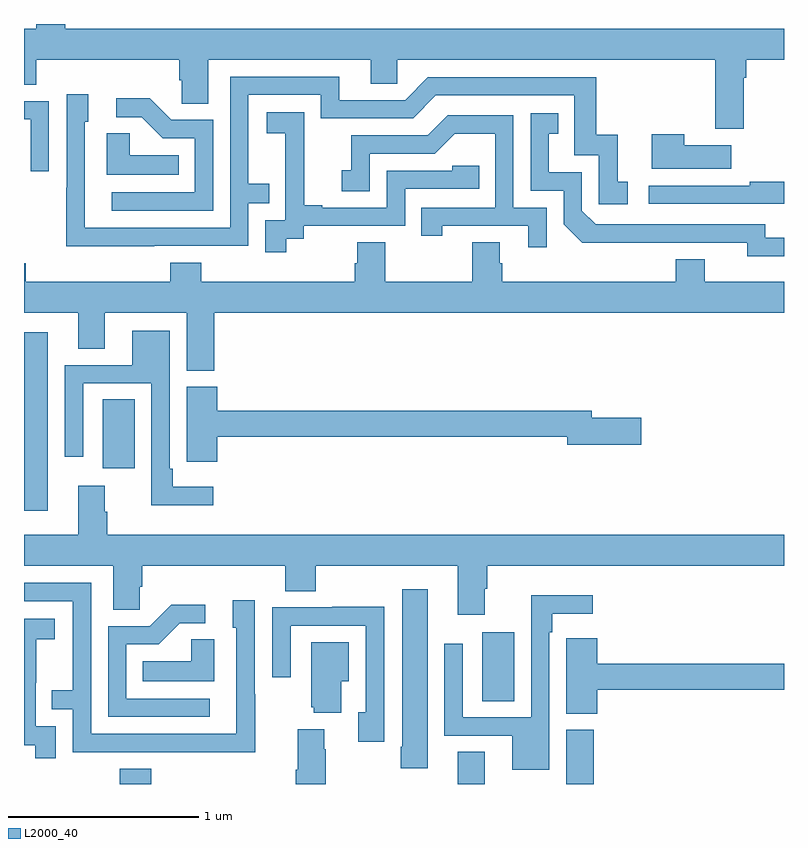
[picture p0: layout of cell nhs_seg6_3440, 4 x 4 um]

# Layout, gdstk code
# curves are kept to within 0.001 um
import gdstk
lib = gdstk.Library(unit=1e-6, precision=1e-09)
def R(c, l, rs):  # rectangles x0, y0, x1, y1
    for r in rs: c.add(gdstk.rectangle(r[:2], r[2:], *l))
def P(c, l, *ps):  # polygons
    for p in ps: c.add(gdstk.Polygon(p, *l))
L2000_40 = (2000, 40)

nhs_seg6_3440 = lib.new_cell('nhs_seg6_3440')
R(nhs_seg6_3440, L2000_40, [(313.505,967.5,313.67,967.579), (315.284,967.5,315.424,967.67), (315.854,967.5,315.998,967.785), (315.413,967.936,315.58,968.299), (313,968.937,313.126,969.877), (313.415,969.162,313.582,969.524)])
P(nhs_seg6_3440, L2000_40, [(316.789,971.216),(316.802,971.216),(316.802,971.312),(317,971.312),(317,971.476),(313.217,971.476),(313.217,971.5),(313.064,971.5),(313.064,971.476),(313,971.476),(313,971.179),(313.064,971.179),(313.064,971.312),(313.817,971.312),(313.817,971.203),(313.83,971.203),(313.83,971.08),(313.969,971.08),(313.969,971.312),(314.825,971.312),(314.825,971.185),(314.964,971.185),(314.964,971.312),(316.637,971.312),(316.637,970.95),(316.789,970.95)],
  [(313.685,970.332),(314.181,970.332),(314.181,970.557),(314.291,970.557),(314.291,970.658),(314.181,970.658),(314.181,971.127),(314.562,971.127),(314.562,971.004),(315.048,971.004),(315.168,971.124),(315.897,971.124),(315.897,970.809),(316.026,970.809),(316.026,970.551),(316.177,970.551),(316.177,970.671),(316.124,970.671),(316.124,970.918),(316.013,970.918),(316.013,971.22),(315.126,971.22),(315.006,971.1),(314.659,971.1),(314.659,971.223),(314.085,971.223),(314.085,970.428),(313.32,970.428),(313.32,970.986),(313.339,970.986),(313.339,971.131),(313.224,971.131),(313.224,970.637),(313.222,970.637),(313.222,970.331)],
  [(313.995,970.995),(313.776,970.995),(313.663,971.108),(313.485,971.108),(313.485,971.01),(313.619,971.01),(313.73,970.899),(313.899,970.899),(313.899,970.614),(313.461,970.614),(313.461,970.518),(313.995,970.518)],
  [(313.131,971.094),(313,971.094),(313,970.998),(313.035,970.998),(313.035,970.725),(313.131,970.725)],
  [(314.38,970.369),(314.472,970.369),(314.472,970.437),(315.006,970.437),(315.006,970.632),(315.395,970.632),(315.395,970.755),(315.255,970.755),(315.255,970.728),(314.91,970.728),(314.91,970.533),(314.569,970.533),(314.569,970.546),(314.474,970.546),(314.474,970.829),(314.475,970.829),(314.475,971.035),(314.277,971.035),(314.277,970.925),(314.375,970.925),(314.375,970.697),(314.376,970.697),(314.376,970.467),(314.271,970.467),(314.271,970.299),(314.38,970.299)],
  [(317,970.374),(316.902,970.374),(316.902,970.446),(316.008,970.446),(315.936,970.518),(315.936,970.719),(315.763,970.719),(315.763,970.923),(315.812,970.923),(315.812,971.029),(315.666,971.029),(315.666,970.623),(315.84,970.623),(315.84,970.446),(315.938,970.349),(316.806,970.35),(316.806,970.277),(317,970.277)],
  [(315.75,970.533),(315.576,970.533),(315.576,971.019),(315.23,971.019),(315.125,970.914),(314.722,970.914),(314.722,970.729),(314.673,970.729),(314.673,970.62),(314.82,970.62),(314.82,970.818),(315.162,970.818),(315.266,970.922),(315.48,970.922),(315.48,970.533),(315.091,970.533),(315.091,970.386),(315.202,970.386),(315.202,970.437),(315.653,970.437),(315.653,970.326),(315.75,970.326)],
  [(313.814,970.81),(313.557,970.81),(313.557,970.925),(313.436,970.925),(313.436,970.706),(313.814,970.706)],
  [(316.723,970.861),(316.475,970.861),(316.475,970.921),(316.304,970.921),(316.304,970.739),(316.723,970.739)],
  [(317,970.67),(316.819,970.67),(316.819,970.65),(316.287,970.65),(316.287,970.554),(317,970.554)],
  [(314,969.98),(317,969.98),(317,970.144),(316.582,970.144),(316.582,970.261),(316.43,970.261),(316.43,970.144),(315.518,970.144),(315.518,970.242),(315.505,970.242),(315.505,970.352),(315.358,970.352),(315.358,970.144),(314.901,970.144),(314.901,970.352),(314.753,970.352),(314.753,970.242),(314.741,970.242),(314.741,970.144),(313.934,970.144),(313.934,970.243),(313.769,970.243),(313.769,970.144),(313.01,970.144),(313.01,970.24),(313,970.24),(313,969.98),(313.286,969.98),(313.286,969.79),(313.426,969.79),(313.426,969.98),(313.856,969.98),(313.856,969.676),(314,969.676)],
  [(313.996,969.064),(313.783,969.064),(313.783,969.16),(313.767,969.16),(313.767,969.886),(313.571,969.886),(313.571,969.705),(313.215,969.705),(313.215,969.222),(313.311,969.222),(313.311,969.609),(313.671,969.609),(313.671,968.966),(313.996,968.966)],
  [(314.018,969.328),(315.86,969.328),(315.86,969.286),(316.249,969.286),(316.249,969.428),(315.988,969.428),(315.988,969.464),(314.018,969.464),(314.018,969.591),(313.856,969.591),(313.856,969.307),(313.857,969.307),(313.857,969.195),(314.018,969.195)],
  [(315.424,968.528),(315.437,968.528),(315.437,968.648),(317,968.648),(317,968.812),(313.439,968.812),(313.439,968.933),(313.426,968.933),(313.426,969.07),(313.286,969.07),(313.286,968.812),(313,968.812),(313,968.648),(313.469,968.648),(313.469,968.416),(313.608,968.416),(313.608,968.539),(313.622,968.539),(313.622,968.648),(314.375,968.648),(314.375,968.515),(314.535,968.515),(314.535,968.648),(315.284,968.648),(315.284,968.391),(315.424,968.391)],
  [(314.217,967.973),(314.214,967.973),(314.214,968.467),(314.099,968.467),(314.099,968.322),(314.118,968.322),(314.118,967.764),(313.353,967.764),(313.353,968.559),(313,968.559),(313,968.463),(313.257,968.463),(313.257,967.994),(313.147,967.994),(313.147,967.893),(313.257,967.893),(313.257,967.668),(313.753,967.668),(313.753,967.667),(314.217,967.667)],
  [(315.124,968.524),(314.99,968.524),(314.99,967.696),(314.983,967.696),(314.983,967.584),(315.124,967.584)],
  [(315.765,968.3),(315.781,968.3),(315.781,968.396),(315.994,968.396),(315.994,968.494),(315.669,968.494),(315.669,967.851),(315.309,967.851),(315.309,968.239),(315.213,968.239),(315.213,967.755),(315.569,967.755),(315.569,967.574),(315.765,967.574)],
  [(313.978,967.95),(313.539,967.95),(313.539,968.235),(313.708,968.235),(313.819,968.346),(313.954,968.346),(313.954,968.444),(313.775,968.444),(313.662,968.331),(313.443,968.331),(313.443,967.854),(313.978,967.854)],
  [(314.895,968.432),(314.623,968.432),(314.623,968.43),(314.307,968.43),(314.307,968.061),(314.403,968.061),(314.403,968.334),(314.799,968.334),(314.799,967.878),(314.759,967.878),(314.759,967.722),(314.895,967.722)],
  [(313.167,967.803),(313.062,967.803),(313.062,968.033),(313.064,968.033),(313.064,968.261),(313.162,968.261),(313.162,968.371),(313,968.371),(313,967.705),(313.059,967.705),(313.059,967.635),(313.167,967.635)],
  [(316.016,967.996),(317,967.996),(317,968.132),(316.016,968.132),(316.016,968.266),(315.855,968.266),(315.855,968.153),(315.854,968.153),(315.854,967.87),(316.016,967.87)],
  [(314.002,968.261),(313.881,968.261),(313.881,968.146),(313.624,968.146),(313.624,968.042),(314.002,968.042)],
  [(314.671,968.042),(314.71,968.042),(314.71,968.245),(314.513,968.245),(314.513,967.905),(314.525,967.905),(314.525,967.874),(314.671,967.874)],
  [(314.589,967.682),(314.581,967.682),(314.581,967.789),(314.441,967.789),(314.441,967.576),(314.429,967.576),(314.429,967.5),(314.589,967.5)])

lib.write_gds('nhs_seg6_3440.gds')
